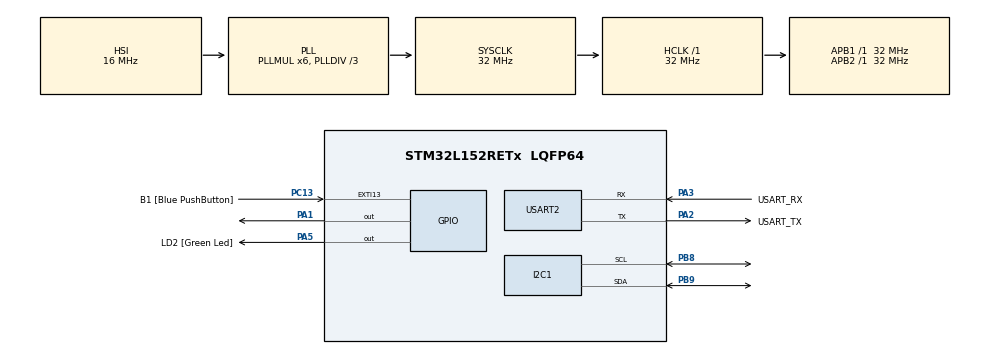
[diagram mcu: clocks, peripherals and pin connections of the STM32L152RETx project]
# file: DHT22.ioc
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Mcu.Family=STM32L1
RCC.MSI_VALUE=2097000
PC15-OSC32_OUT.Mode=LSE-External-Oscillator
PH0-OSC_IN.Signal=RCC_OSC_IN
PA14.GPIO_Label=TCK
PC14-OSC32_IN.Signal=RCC_OSC32_IN
RCC.SYSCLKSource=RCC_SYSCLKSOURCE_PLLCLK
ProjectManager.StackSize=0x400
PA13.Signal=SYS_JTMS-SWDIO
PA3.Mode=Asynchronous
RCC.PLLDIV=RCC_PLL_DIV3
ProjectManager.TargetToolchain=STM32CubeIDE
RCC.HCLKFreq_Value=32000000
PC13-WKUP2.GPIO_Label=B1 [Blue PushButton]
PB9.Mode=I2C
RCC.APB2TimFreq_Value=32000000
PC15-OSC32_OUT.Signal=RCC_OSC32_OUT
PA1.Signal=GPIO_Output
RCC.AHBFreq_Value=32000000
PH0-OSC_IN.Mode=HSE-External-Clock-Source
PA5.Signal=GPIO_Output
RCC.HSE_VALUE=8000000
PC13-WKUP2.Signal=GPXTI13
board=NUCLEO-L152RE
RCC.VCOOutputFreq_Value=96000000
RCC.PLLMUL=RCC_PLL_MUL6
RCC.APB2Freq_Value=32000000
PC14-OSC32_IN.Mode=LSE-External-Oscillator
RCC.RTCClockSelectionVirtual=RCC_RTCCLKSOURCE_LSE
PA14.Mode=Serial_Wire
PH1-OSC_OUT.Signal=RCC_OSC_OUT
PA13.Mode=Serial_Wire
Mcu.Name=STM32L152RETx
PA2.Signal=USART2_TX
PA13.GPIO_Label=TMS
RCC.48MHZClocksFreq_Value=48000000
PB3.Signal=SYS_JTDO-TRACESWO
RCC.SYSCLKFreq_VALUE=32000000
Mcu.Package=LQFP64
PB9.Signal=I2C1_SDA
PA5.GPIO_Label=LD2 [Green Led]
USART2.VirtualMode=VM_ASYNC
RCC.USBOutput=48000000
PA2.GPIO_Label=USART_TX
PA14.Signal=SYS_JTCK-SWCLK
ProjectManager.HeapSize=0x200
RCC.HSI_VALUE=16000000
NVIC.PriorityGroup=NVIC_PRIORITYGROUP_0
PB8.Mode=I2C
RCC.APB1TimFreq_Value=32000000
PA2.Mode=Asynchronous
PB8.Signal=I2C1_SCL
RCC.APB1Freq_Value=32000000
PA3.GPIO_Label=USART_RX
PA3.Signal=USART2_RX
PB3.GPIO_Label=SWO

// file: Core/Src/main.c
/* USER CODE BEGIN Header */
/**
  ******************************************************************************
  * @file           : main.c
  * @brief          : NIANE Abdoulaye
  ******************************************************************************
  * @attention
  *
  * <h2><center>&copy; Copyright (c) 2021 STMicroelectronics.
  * All rights reserved.</center></h2>
  *
  * This software component is licensed by ST under BSD 3-Clause license,
  * the "License"; You may not use this file except in compliance with the
  * License. You may obtain a copy of the License at:
  *                        opensource.org/licenses/BSD-3-Clause
  *
  ******************************************************************************
  */
/* USER CODE END Header */
#include <DHT22.h>
#include "main.h"
#include "i2c.h"
#include "usart.h"
#include "gpio.h"
#include "lib_lcd.h"
#include <stdlib.h>
#include "timer.h"
/* USER CODE BEGIN Includes */
#include <string.h>
#include <stdio.h>
/* USER CODE END Includes */

/* USER CODE BEGIN PV */
static rgb_lcd lcdData;

uint16_t RH = 0, TEMP = 0;

uint8_t dataH1;
uint8_t dataH2;
uint8_t dataT1;
uint8_t dataT2;

GPIO_PinState state;

/* USER CODE END PV */

void SystemClock_Config(void);

int main(void)
{
  /* USER CODE BEGIN 1 */
char buf[50];
char buf1[50];
float partieEntiere, partieDecimal,partieEntiere1, partieDecimal1;
int i=0, check=0;
  /* USER CODE END 1 */

  /* MCU Configuration--------------------------------------------------------*/

  /* Reset of all peripherals, Initializes the Flash interface and the Systick. */
  HAL_Init();

  /* Configure the system clock */
  SystemClock_Config();

  /* Initialize all configured peripherals */
  MX_GPIO_Init();
  MX_USART2_UART_Init();
  MX_I2C1_Init();
  /* USER CODE BEGIN 2 */
  lcd_init(&hi2c1, &lcdData); // initialise le lcd
  lcd_position(&hi2c1,0,0);
  reglagecouleur(0,0,255);
  /* USER CODE END 2 */
  DWT_Delay_Init();
  /* Infinite loop */
  while (1)
  {
	  HAL_Delay(3000);
	  	  Data_Output(GPIOA, GPIO_PIN_0);
	  	  HAL_GPIO_WritePin(GPIOA, GPIO_PIN_0, GPIO_PIN_RESET);
	  	  DWT_Delay_us(1200);
	  	  HAL_GPIO_WritePin(GPIOA, GPIO_PIN_0, GPIO_PIN_SET);
	  	  DWT_Delay_us(30);
	  	  Data_Input(GPIOA, GPIO_PIN_0);

	  	  while(!(HAL_GPIO_ReadPin(GPIOA, GPIO_PIN_0)));

	  	  for (i=0;i<100;i++)
	  	  {
	  	  		  if (HAL_GPIO_ReadPin (GPIOA, GPIO_PIN_0) == GPIO_PIN_RESET)
	  	  		  {
	  	  			check = i;
	  	  			break;
	  	  		  }

	  	  }

	  	 while(!(HAL_GPIO_ReadPin(GPIOA, GPIO_PIN_0)));
	  	  DWT_Delay_us(40);

	  	  Read_data(&dataH1);
	  	  Read_data(&dataH2);
	  	  Read_data(&dataT1);
	  	  Read_data(&dataT2);

	  	  RH = (dataH1<<8) | dataH2;
	  	  TEMP = (dataT1<<8) | dataT2;
    /* USER CODE BEGIN 3 */
	  partieEntiere = TEMP/10 ;
	  partieDecimal = ((TEMP%10)+48);

	  partieEntiere1= RH/10 ;
	  partieDecimal1 = ((RH%10)+48);
	  sprintf((char*)buf,"%u.%u C", (unsigned int) partieEntiere,(unsigned int) partieDecimal);
	  sprintf((char*)buf1,"%u.%u ", (unsigned int) partieEntiere1,(unsigned int) partieDecimal1);
	  	  	  	lcd_position(&hi2c1,0,0);
	  			lcd_print(&hi2c1,"Temp :  ");
	  			lcd_position(&hi2c1,7,0);
	  			lcd_print(&hi2c1,buf);
	  			lcd_position(&hi2c1,0,1);
	  			lcd_print(&hi2c1,"Hum  : ");
	  			lcd_position(&hi2c1,7,1);
	  			lcd_print(&hi2c1,buf1);
	  			lcd_print(&hi2c1,"%");

	  			HAL_Delay(1000);
  }

  /* USER CODE END 3 */
}

void SystemClock_Config(void)
{
  RCC_OscInitTypeDef RCC_OscInitStruct = {0};
  RCC_ClkInitTypeDef RCC_ClkInitStruct = {0};

  /** Configure the main internal regulator output voltage
  */
  __HAL_PWR_VOLTAGESCALING_CONFIG(PWR_REGULATOR_VOLTAGE_SCALE1);
  /** Initializes the RCC Oscillators according to the specified parameters
  * in the RCC_OscInitTypeDef structure.
  */
  RCC_OscInitStruct.OscillatorType = RCC_OSCILLATORTYPE_HSI;
  RCC_OscInitStruct.HSIState = RCC_HSI_ON;
  RCC_OscInitStruct.HSICalibrationValue = RCC_HSICALIBRATION_DEFAULT;
  RCC_OscInitStruct.PLL.PLLState = RCC_PLL_ON;
  RCC_OscInitStruct.PLL.PLLSource = RCC_PLLSOURCE_HSI;
  RCC_OscInitStruct.PLL.PLLMUL = RCC_PLL_MUL6;
  RCC_OscInitStruct.PLL.PLLDIV = RCC_PLL_DIV3;
  if (HAL_RCC_OscConfig(&RCC_OscInitStruct) != HAL_OK)
  {
    Error_Handler();
  }
  /** Initializes the CPU, AHB and APB buses clocks
  */
  RCC_ClkInitStruct.ClockType = RCC_CLOCKTYPE_HCLK|RCC_CLOCKTYPE_SYSCLK
                              |RCC_CLOCKTYPE_PCLK1|RCC_CLOCKTYPE_PCLK2;
  RCC_ClkInitStruct.SYSCLKSource = RCC_SYSCLKSOURCE_PLLCLK;
  RCC_ClkInitStruct.AHBCLKDivider = RCC_SYSCLK_DIV1;
  RCC_ClkInitStruct.APB1CLKDivider = RCC_HCLK_DIV1;
  RCC_ClkInitStruct.APB2CLKDivider = RCC_HCLK_DIV1;

  if (HAL_RCC_ClockConfig(&RCC_ClkInitStruct, FLASH_LATENCY_1) != HAL_OK)
  {
    Error_Handler();
  }
}

void Error_Handler(void)
{
  __disable_irq();
  while (1)
  {
  }
}

/************************ (C) COPYRIGHT STMicroelectronics *****END OF FILE****/
